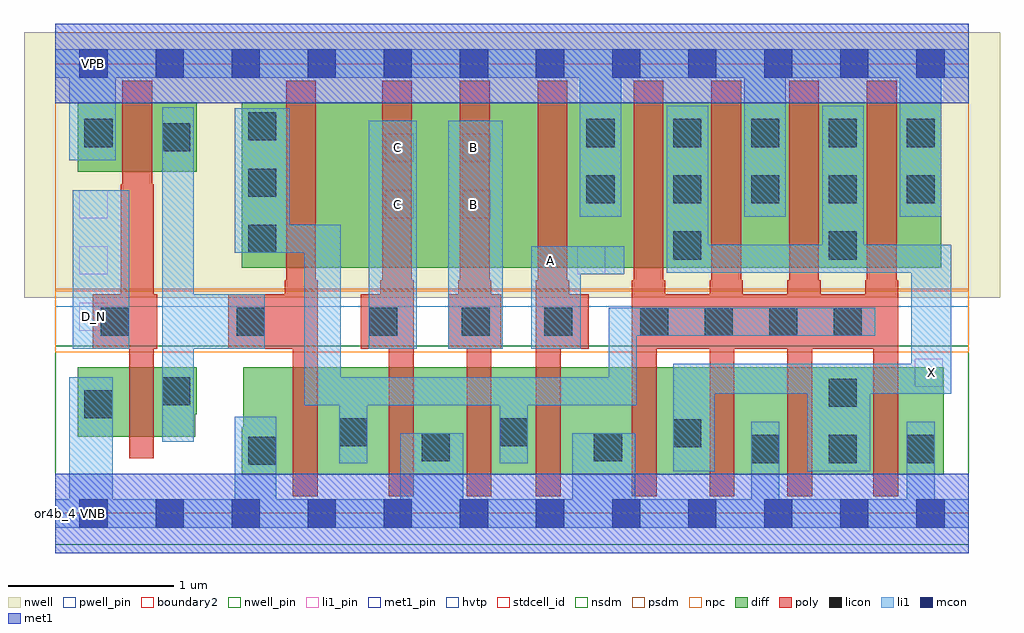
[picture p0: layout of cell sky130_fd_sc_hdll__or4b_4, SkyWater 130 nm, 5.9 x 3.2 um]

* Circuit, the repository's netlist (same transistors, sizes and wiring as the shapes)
* Copyright 2020 The SkyWater PDK Authors
*
* Licensed under the Apache License, Version 2.0 (the "License");
* you may not use this file except in compliance with the License.
* You may obtain a copy of the License at
*
*     https://www.apache.org/licenses/LICENSE-2.0
*
* Unless required by applicable law or agreed to in writing, software
* distributed under the License is distributed on an "AS IS" BASIS,
* WITHOUT WARRANTIES OR CONDITIONS OF ANY KIND, either express or implied.
* See the License for the specific language governing permissions and
* limitations under the License.
*
* SPDX-License-Identifier: Apache-2.0

.SUBCKT sky130_fd_sc_hdll__or4b_4 A B C D_N VGND VNB VPB VPWR X
*.PININFO A:I B:I C:I D_N:I VGND:I VNB:I VPB:I VPWR:I X:O
MMP0 VPWR A sndPA VPB sky130_fd_pr__pfet_01v8_hvt m=1 w=1.0U l=0.18U mult=1 sa=0.265
+ sb=0.265 sd=0.28 area=0.063 perim=1.14
MMP1 sndPA B sndPB VPB sky130_fd_pr__pfet_01v8_hvt m=1 w=1.0U l=0.18U mult=1 sa=0.265
+ sb=0.265 sd=0.28 area=0.063 perim=1.14
MMP2 sndPB C sndPC VPB sky130_fd_pr__pfet_01v8_hvt m=1 w=1.0U l=0.18U mult=1 sa=0.265
+ sb=0.265 sd=0.28 area=0.063 perim=1.14
MMP3 sndPC D y VPB sky130_fd_pr__pfet_01v8_hvt m=1 w=1.0U l=0.18U mult=1 sa=0.265
+ sb=0.265 sd=0.28 area=0.063 perim=1.14
MMIP3 D D_N VPWR VPB sky130_fd_pr__pfet_01v8_hvt m=1 w=0.42U l=0.18U mult=1 sa=0.265
+ sb=0.265 sd=0.28 area=0.063 perim=1.14
MMIP4 X y VPWR VPB sky130_fd_pr__pfet_01v8_hvt m=4 w=1.0U l=0.18U mult=1 sa=0.265
+ sb=0.265 sd=0.28 area=0.063 perim=1.14
MMN0 y A VGND VNB sky130_fd_pr__nfet_01v8 m=1 w=0.65U l=0.15U mult=1 sa=0.265 sb=0.265
+ sd=0.28 area=0.063 perim=1.14
MMN1 y B VGND VNB sky130_fd_pr__nfet_01v8 m=1 w=0.65U l=0.15U mult=1 sa=0.265 sb=0.265
+ sd=0.28 area=0.063 perim=1.14
MMN2 y C VGND VNB sky130_fd_pr__nfet_01v8 m=1 w=0.65U l=0.15U mult=1 sa=0.265 sb=0.265
+ sd=0.28 area=0.063 perim=1.14
MMN3 y D VGND VNB sky130_fd_pr__nfet_01v8 m=1 w=0.65U l=0.15U mult=1 sa=0.265 sb=0.265
+ sd=0.28 area=0.063 perim=1.14
MMIN3 D D_N VGND VNB sky130_fd_pr__nfet_01v8 m=1 w=0.42U l=0.15U mult=1 sa=0.265
+ sb=0.265 sd=0.28 area=0.063 perim=1.14
MMIN4 X y VGND VNB sky130_fd_pr__nfet_01v8 m=4 w=0.65U l=0.15U mult=1 sa=0.265
+ sb=0.265 sd=0.28 area=0.063 perim=1.14
.ENDS sky130_fd_sc_hdll__or4b_4

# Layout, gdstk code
import gdstk
lib = gdstk.Library(unit=1e-6, precision=1e-09)
def R(c, l, rs):  # rectangles x0, y0, x1, y1
    for r in rs: c.add(gdstk.rectangle(r[:2], r[2:], *l))
def A(c, l, x, y, w, h, nx, ny, dx, dy):  # array of equal rectangles
    R(c, l, [(x+i*dx, y+j*dy, x+i*dx+w, y+j*dy+h) for i in range(nx) for j in range(ny)])
def P(c, l, *ps):  # polygons
    for p in ps: c.add(gdstk.Polygon(p, *l))
nwell_pin = (64, 16)
nwell = (64, 20)
diff = (65, 20)
poly = (66, 20)
licon = (66, 44)
li1_pin = (67, 16)
li1 = (67, 20)
mcon = (67, 44)
met1_pin = (68, 16)
met1 = (68, 20)
hvtp = (78, 44)
stdcell_id = (81, 4)
nsdm = (93, 44)
psdm = (94, 20)
npc = (95, 20)
pwell_pin = (122, 16)
boundary2 = (236, 0)

sky130_fd_sc_hdll__or4b_ = lib.new_cell('sky130_fd_sc_hdll__or4b_4')
R(sky130_fd_sc_hdll__or4b_, nwell_pin, [(0.145,2.635,0.315,2.805)])
R(sky130_fd_sc_hdll__or4b_, nwell, [(-0.19,1.305,5.71,2.91)])
R(sky130_fd_sc_hdll__or4b_, diff, [(1.125,1.485,5.355,2.485), (0.135,2.065,0.855,2.485)])
P(sky130_fd_sc_hdll__or4b_, diff, [(0.855,0.885),(0.135,0.885),(0.135,0.465),(0.845,0.465),(0.845,0.6),(0.855,0.6)],
  [(5.37,0.885),(1.135,0.885),(1.135,0.52),(1.125,0.52),(1.125,0.235),(5.37,0.235)])
P(sky130_fd_sc_hdll__or4b_, poly, [(0.615,1.325),(0.595,1.325),(0.595,1.99),(0.585,1.99),(0.585,2.615),(0.405,2.615),(0.405,1.99),(0.395,1.99),(0.395,1.325),(0.225,1.325),(0.225,0.995),(0.445,0.995),(0.445,0.335),(0.595,0.335),(0.595,0.995),(0.615,0.995)],
  [(1.585,1.41),(1.575,1.41),(1.575,2.615),(1.395,2.615),(1.395,1.41),(1.385,1.41),(1.385,1.325),(1.045,1.325),(1.045,0.995),(1.435,0.995),(1.435,0.105),(1.585,0.105)],
  [(2.165,1.41),(2.155,1.41),(2.155,2.615),(1.975,2.615),(1.975,1.41),(1.965,1.41),(1.965,1.325),(1.845,1.325),(1.845,0.995),(2.015,0.995),(2.015,0.105),(2.165,0.105)],
  [(2.695,1.325),(2.635,1.325),(2.635,1.41),(2.625,1.41),(2.625,2.615),(2.445,2.615),(2.445,1.41),(2.435,1.41),(2.435,1.325),(2.375,1.325),(2.375,0.995),(2.485,0.995),(2.485,0.105),(2.635,0.105),(2.635,0.995),(2.695,0.995)],
  [(3.225,1.325),(3.105,1.325),(3.105,1.41),(3.095,1.41),(3.095,2.615),(2.915,2.615),(2.915,1.41),(2.905,1.41),(2.905,0.105),(3.055,0.105),(3.055,0.995),(3.225,0.995)],
  [(5.095,1.41),(5.085,1.41),(5.085,2.615),(4.905,2.615),(4.905,1.41),(4.895,1.41),(4.895,1.325),(4.625,1.325),(4.625,1.41),(4.615,1.41),(4.615,2.615),(4.435,2.615),(4.435,1.41),(4.425,1.41),(4.425,1.325),(4.155,1.325),(4.155,1.41),(4.145,1.41),(4.145,2.615),(3.965,2.615),(3.965,1.41),(3.955,1.41),(3.955,1.325),(3.685,1.325),(3.685,1.41),(3.675,1.41),(3.675,2.615),(3.495,2.615),(3.495,1.41),(3.485,1.41),(3.485,0.105),(3.635,0.105),(3.635,0.995),(3.955,0.995),(3.955,0.105),(4.105,0.105),(4.105,0.995),(4.425,0.995),(4.425,0.105),(4.575,0.105),(4.575,0.995),(4.945,0.995),(4.945,0.105),(5.095,0.105)])
A(sky130_fd_sc_hdll__or4b_, licon, 4.205, 0.305, 0.17, 0.17, 3, 1, 0.47, 0)
A(sky130_fd_sc_hdll__or4b_, licon, 3.535, 1.075, 0.17, 0.17, 4, 1, 0.39, 0)
A(sky130_fd_sc_hdll__or4b_, licon, 1.165, 1.575, 0.17, 0.17, 1, 3, 0, 0.34)
A(sky130_fd_sc_hdll__or4b_, licon, 3.735, 1.875, 0.17, 0.17, 4, 2, 0.47, 0.34)
R(sky130_fd_sc_hdll__or4b_, licon, [(1.165,0.295,1.335,0.465), (2.215,0.315,2.385,0.485), (3.255,0.315,3.425,0.485), (3.735,0.4,3.905,0.57), (1.715,0.405,1.885,0.575), (2.685,0.405,2.855,0.575), (0.175,0.575,0.345,0.745), (4.675,0.645,4.845,0.815), (0.645,0.655,0.815,0.825), (0.275,1.075,0.445,1.245), (1.095,1.075,1.265,1.245), (1.895,1.075,2.065,1.245), (2.455,1.075,2.625,1.245), (2.955,1.075,3.125,1.245), (3.735,1.535,3.905,1.705), (4.675,1.535,4.845,1.705), (3.21,1.875,3.38,2.045), (0.645,2.19,0.815,2.36), (0.175,2.215,0.345,2.385), (3.21,2.215,3.38,2.385)])
A(sky130_fd_sc_hdll__or4b_, li1_pin, 0.145, 1.105, 0.17, 0.17, 1, 3, 0, 0.34)
R(sky130_fd_sc_hdll__or4b_, li1_pin, [(5.195,0.765,5.365,0.935), (3.155,1.445,3.325,1.615), (1.995,1.785,2.165,1.955), (2.46,1.785,2.63,1.955), (1.995,2.125,2.165,2.295), (2.46,2.125,2.63,2.295)])
R(sky130_fd_sc_hdll__or4b_, li1, [(0.105,0.995,0.445,1.955), (1.895,0.995,2.185,2.375), (2.375,0.995,2.705,2.375)])
P(sky130_fd_sc_hdll__or4b_, li1, [(5.52,0.085),(5.315,0.085),(5.315,0.555),(5.145,0.555),(5.145,0.085),(4.375,0.085),(4.375,0.555),(4.205,0.555),(4.205,0.085),(3.505,0.085),(3.505,0.485),(3.125,0.485),(3.125,0.085),(2.465,0.085),(2.465,0.485),(2.085,0.485),(2.085,0.085),(1.335,0.085),(1.335,0.585),(1.085,0.585),(1.085,0.085),(0.345,0.085),(0.345,0.825),(0.085,0.825),(0.085,0.085),(0,0.085),(0,-0.085),(5.52,-0.085)],
  [(5.52,2.805),(0,2.805),(0,2.635),(0.085,2.635),(0.085,2.135),(0.365,2.135),(0.365,2.635),(3.17,2.635),(3.17,1.795),(3.42,1.795),(3.42,2.635),(4.165,2.635),(4.165,1.795),(4.415,1.795),(4.415,2.635),(5.105,2.635),(5.105,1.795),(5.355,1.795),(5.355,2.635),(5.52,2.635)],
  [(1.265,1.325),(0.835,1.325),(0.835,2.455),(0.645,2.455),(0.645,0.435),(0.835,0.435),(0.835,0.995),(1.265,0.995)],
  [(3.44,1.615),(2.875,1.615),(2.875,0.995),(3.175,0.995),(3.175,1.445),(3.44,1.445)],
  [(4.955,1.245),(3.345,1.245),(3.345,0.825),(1.725,0.825),(1.725,1.745),(1.415,1.745),(1.415,2.45),(1.085,2.45),(1.085,1.575),(1.505,1.575),(1.505,0.655),(1.715,0.655),(1.715,0.305),(1.885,0.305),(1.885,0.655),(2.685,0.655),(2.685,0.305),(2.855,0.305),(2.855,0.655),(3.515,0.655),(3.515,1.075),(4.955,1.075)],
  [(5.415,1.625),(4.885,1.625),(4.885,2.465),(4.635,2.465),(4.635,1.625),(3.945,1.625),(3.945,2.465),(3.695,2.465),(3.695,1.455),(5.175,1.455),(5.175,0.905),(3.735,0.905),(3.735,0.255),(3.985,0.255),(3.985,0.725),(4.545,0.725),(4.545,0.255),(4.925,0.255),(4.925,0.725),(5.415,0.725)])
A(sky130_fd_sc_hdll__or4b_, mcon, 0.145, -0.085, 0.17, 0.17, 12, 2, 0.46, 2.72)
R(sky130_fd_sc_hdll__or4b_, met1_pin, [(0.145,-0.085,0.315,0.085), (0.145,2.635,0.315,2.805)])
R(sky130_fd_sc_hdll__or4b_, met1, [(0,-0.24,5.52,0.24), (0,2.48,5.52,2.96)])
R(sky130_fd_sc_hdll__or4b_, hvtp, [(0,1.25,5.52,2.72)])
R(sky130_fd_sc_hdll__or4b_, stdcell_id, [(0,0,5.52,2.72)])
R(sky130_fd_sc_hdll__or4b_, nsdm, [(0,-0.19,5.52,1.015)])
R(sky130_fd_sc_hdll__or4b_, psdm, [(0,1.355,5.52,2.91)])
R(sky130_fd_sc_hdll__or4b_, npc, [(0,0.975,5.52,1.345)])
R(sky130_fd_sc_hdll__or4b_, pwell_pin, [(0.145,-0.085,0.315,0.085)])
R(sky130_fd_sc_hdll__or4b_, boundary2, [(0,0,5.52,2.72)])
sky130_fd_sc_hdll__or4b_.add(gdstk.Label('D_N', (0.23,1.19), layer=67, texttype=5))
sky130_fd_sc_hdll__or4b_.add(gdstk.Label('B', (2.53,2.21), layer=67, texttype=5))
sky130_fd_sc_hdll__or4b_.add(gdstk.Label('B', (2.53,1.87), layer=67, texttype=5))
sky130_fd_sc_hdll__or4b_.add(gdstk.Label('C', (2.07,1.87), layer=67, texttype=5))
sky130_fd_sc_hdll__or4b_.add(gdstk.Label('A', (2.99,1.53), layer=67, texttype=5))
sky130_fd_sc_hdll__or4b_.add(gdstk.Label('C', (2.07,2.21), layer=67, texttype=5))
sky130_fd_sc_hdll__or4b_.add(gdstk.Label('X', (5.295,0.85), layer=67, texttype=5))
sky130_fd_sc_hdll__or4b_.add(gdstk.Label('VNB', (0.23,0), layer=64, texttype=59))
sky130_fd_sc_hdll__or4b_.add(gdstk.Label('VPB', (0.23,2.72), layer=64, texttype=5))
sky130_fd_sc_hdll__or4b_.add(gdstk.Label('VGND', (0.23,0), layer=68, texttype=5))
sky130_fd_sc_hdll__or4b_.add(gdstk.Label('VPWR', (0.23,2.72), layer=68, texttype=5))
sky130_fd_sc_hdll__or4b_.add(gdstk.Label('or4b_4', (0,0), layer=83, texttype=44))

lib.write_gds('sky130_fd_sc_hdll__or4b_4.gds')
